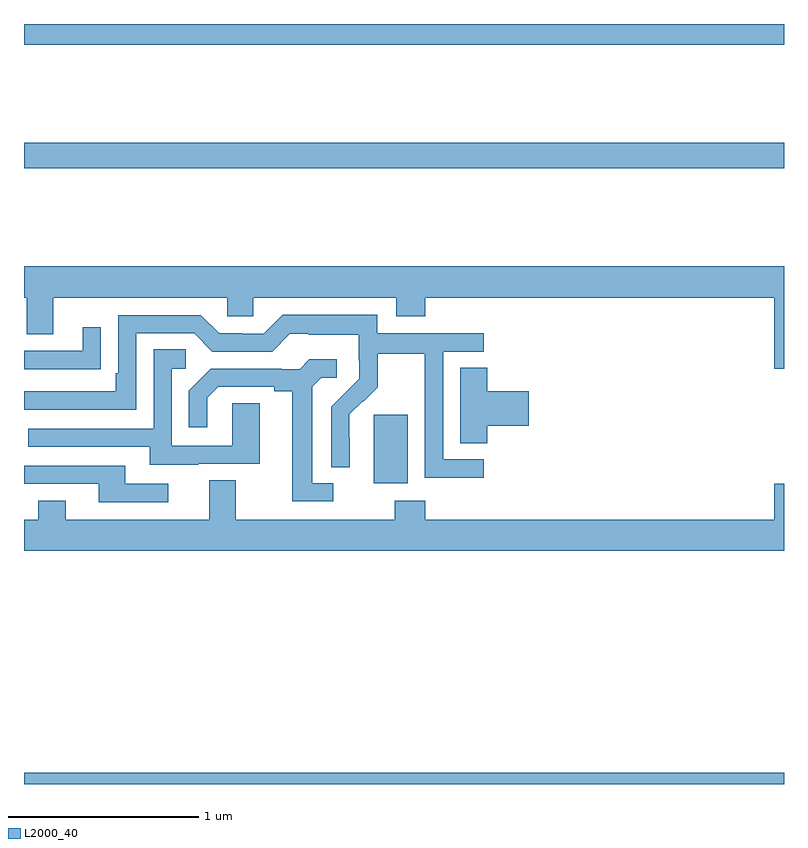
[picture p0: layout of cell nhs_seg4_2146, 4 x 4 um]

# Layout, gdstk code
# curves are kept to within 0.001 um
import gdstk
lib = gdstk.Library(unit=1e-6, precision=1e-09)
def R(c, l, rs):  # rectangles x0, y0, x1, y1
    for r in rs: c.add(gdstk.rectangle(r[:2], r[2:], *l))
def P(c, l, *ps):  # polygons
    for p in ps: c.add(gdstk.Polygon(p, *l))
L2000_40 = (2000, 40)

nhs_seg4_2146 = lib.new_cell('nhs_seg4_2146')
R(nhs_seg4_2146, L2000_40, [(221,820.9,225,820.96), (222.842,822.482,223.021,822.843), (221,824.14,225,824.276), (221,824.792,225,824.9)])
P(nhs_seg4_2146, L2000_40, [(225,823.624),(221,823.624),(221,823.46),(221.015,823.46),(221.015,823.266),(221.155,823.266),(221.155,823.46),(222.069,823.46),(222.069,823.362),(222.207,823.362),(222.207,823.46),(222.959,823.46),(222.959,823.361),(223.112,823.361),(223.112,823.46),(224.948,823.46),(224.948,823.086),(225,823.086)],
  [(223.42,822.609),(223.206,822.609),(223.206,823.176),(223.42,823.176),(223.42,823.272),(222.858,823.272),(222.858,823.369),(222.361,823.369),(222.261,823.269),(222.146,823.269),(222.146,823.272),(222.027,823.272),(221.931,823.368),(221.496,823.368),(221.496,823.063),(221.483,823.063),(221.483,822.966),(221,822.966),(221,822.87),(221.592,822.87),(221.592,823.272),(221.895,823.272),(221.991,823.176),(222.306,823.176),(222.399,823.269),(222.499,823.269),(222.499,823.265),(222.762,823.265),(222.762,823.131),(222.764,823.131),(222.764,823.034),(222.618,822.886),(222.618,822.568),(222.714,822.568),(222.713,822.845),(222.783,822.915),(222.786,822.912),(222.863,822.989),(222.863,823.164),(223.108,823.164),(223.108,822.94),(223.11,822.94),(223.11,822.511),(223.42,822.511)],
  [(221.303,823.084),(221.405,823.084),(221.405,823.303),(221.309,823.303),(221.309,823.179),(221,823.179),(221,823.083),(221.303,823.083)],
  [(221.917,822.585),(222.241,822.585),(222.241,822.905),(222.096,822.905),(222.096,822.681),(221.778,822.681),(221.778,823.086),(221.851,823.086),(221.851,823.187),(221.682,823.187),(221.682,822.771),(221.023,822.771),(221.023,822.675),(221.663,822.675),(221.663,822.581),(221.917,822.581)],
  [(222.628,822.483),(222.517,822.483),(222.517,822.991),(222.564,823.038),(222.646,823.038),(222.646,823.135),(222.502,823.135),(222.45,823.083),(222.356,823.083),(222.356,823.086),(221.984,823.086),(221.868,822.97),(221.868,822.777),(221.965,822.777),(221.965,822.933),(222.022,822.99),(222.317,822.99),(222.317,822.968),(222.413,822.968),(222.413,822.387),(222.628,822.387)],
  [(223.439,822.785),(223.657,822.785),(223.657,822.968),(223.439,822.968),(223.439,823.091),(223.295,823.091),(223.295,822.694),(223.439,822.694)],
  [(221.758,822.48),(221.533,822.48),(221.533,822.576),(221,822.576),(221,822.48),(221.393,822.48),(221.393,822.384),(221.758,822.384)],
  [(221.074,822.391),(221.074,822.292),(221,822.292),(221,822.128),(225,822.128),(225,822.481),(224.948,822.481),(224.948,822.292),(223.112,822.292),(223.112,822.391),(222.952,822.391),(222.952,822.292),(222.115,822.292),(222.115,822.5),(221.975,822.5),(221.975,822.292),(221.221,822.292),(221.221,822.391)])

lib.write_gds('nhs_seg4_2146.gds')
